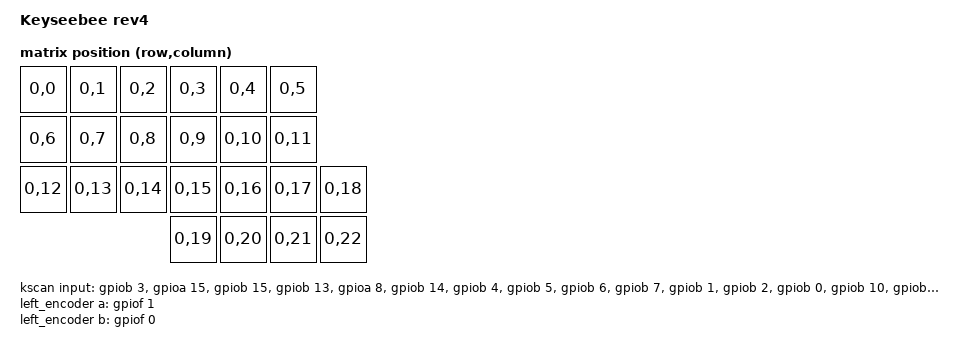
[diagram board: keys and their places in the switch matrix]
/*
 * Copyright (c) 2020 The ZMK Contributors
 *
 * SPDX-License-Identifier: MIT
 */

/dts-v1/;
#include <st/f0/stm32f072Xb.dtsi>
#include <st/f0/stm32f072c(8-b)tx-pinctrl.dtsi>
//#include <dt-bindings/led/led.h>

#include <dt-bindings/zmk/matrix_transform.h>

#include <physical_layouts.dtsi>

/ {
    model = "Keyseebee rev4";
    compatible = "sefodopo,keyseebee", "st,stm32f072";

    chosen {
        zephyr,sram = &sram0;
        zephyr,flash = &flash0;
        zmk,kscan = &kscan;
        //zmk,underglow = &led_strip;
    };

    matrix_transform: matrix_transform {
        compatible = "zmk,matrix-transform";

        compatible = "zmk,matrix-transform";
        columns = <7>;
        rows = <4>;
        map = <
            RC(0,0)  RC(0,1)  RC(0,2)  RC(0,3)  RC(0,4)  RC(0,5)
            RC(0,6)  RC(0,7)  RC(0,8)  RC(0,9)  RC(0,10) RC(0,11)
            RC(0,12) RC(0,13) RC(0,14) RC(0,15) RC(0,16) RC(0,17) RC(0,18)
                                       RC(0,19) RC(0,20) RC(0,21) RC(0,22)
        >;
    };

    physical_layout {
        compatible = "zmk,physical-layout";

        display-name = "Keyseebee";
        transform = <&matrix_transform>;

        //keys  //                     w   h    x    y     rot    rx    ry
        //    = <&key_physical_attrs 100 100    0    0       0     0     0>
        //    , <&key_physical_attrs 100 100  100    0       0     0     0>
        //    , <&key_physical_attrs 100 100  200    0       0     0     0>
        //    , <&key_physical_attrs 100 100    0  100       0     0     0>
        //    , <&key_physical_attrs 100 100  100  100       0     0     0>
        //    , <&key_physical_attrs 100 100  200  100       0     0     0>
        //    , <&key_physical_attrs 100 100    0  200       0     0     0>
        //    , <&key_physical_attrs 100 100  100  200       0     0     0>
        //    , <&key_physical_attrs 100 100  200  200       0     0     0>
        //    ;
    };

    kscan: kscan {
        compatible = "zmk,kscan-gpio-direct";

        input-gpios
            = <&gpiob 3 (GPIO_ACTIVE_LOW | GPIO_PULL_UP)>
            , <&gpioa 15  (GPIO_ACTIVE_LOW | GPIO_PULL_UP)>
            , <&gpiob 15  (GPIO_ACTIVE_LOW | GPIO_PULL_UP)>
            , <&gpiob 13 (GPIO_ACTIVE_LOW | GPIO_PULL_UP)>
            , <&gpioa 8  (GPIO_ACTIVE_LOW | GPIO_PULL_UP)>
            , <&gpiob 14  (GPIO_ACTIVE_LOW | GPIO_PULL_UP)>
            , <&gpiob 4  (GPIO_ACTIVE_LOW | GPIO_PULL_UP)>
            , <&gpiob 5  (GPIO_ACTIVE_LOW | GPIO_PULL_UP)>
            , <&gpiob 6  (GPIO_ACTIVE_LOW | GPIO_PULL_UP)>
            , <&gpiob 7  (GPIO_ACTIVE_LOW | GPIO_PULL_UP)>
            , <&gpiob 1  (GPIO_ACTIVE_LOW | GPIO_PULL_UP)>
            , <&gpiob 2  (GPIO_ACTIVE_LOW | GPIO_PULL_UP)>
            , <&gpiob 0  (GPIO_ACTIVE_LOW | GPIO_PULL_UP)>
            , <&gpiob 10  (GPIO_ACTIVE_LOW | GPIO_PULL_UP)>
            , <&gpiob 11  (GPIO_ACTIVE_LOW | GPIO_PULL_UP)>
            , <&gpioa 7  (GPIO_ACTIVE_LOW | GPIO_PULL_UP)>
            , <&gpioa 6  (GPIO_ACTIVE_LOW | GPIO_PULL_UP)>
            , <&gpioa 1  (GPIO_ACTIVE_LOW | GPIO_PULL_UP)>
            , <&gpioa 5  (GPIO_ACTIVE_LOW | GPIO_PULL_UP)>
            , <&gpioa 0  (GPIO_ACTIVE_LOW | GPIO_PULL_UP)>
            , <&gpioa 2  (GPIO_ACTIVE_LOW | GPIO_PULL_UP)>
            , <&gpioa 3  (GPIO_ACTIVE_LOW | GPIO_PULL_UP)>
            , <&gpioa 4  (GPIO_ACTIVE_LOW | GPIO_PULL_UP)>
            ;
    };

    left_encoder: encoder_left {
        compatible = "alps,ec11";
        a-gpios = <&gpiof 1 (GPIO_ACTIVE_HIGH | GPIO_PULL_UP)>;
        b-gpios = <&gpiof 0 (GPIO_ACTIVE_HIGH | GPIO_PULL_UP)>;
        steps = <80>;
        status = "okay";
    };
//    mid_encoder: encoder_mid {
//        compatible = "alps,ec11";
//        a-gpios = <&gpioa 9 (GPIO_ACTIVE_HIGH | GPIO_PULL_UP)>;
//        b-gpios = <&gpioa 10 (GPIO_ACTIVE_HIGH | GPIO_PULL_UP)>;
//        steps = <80>;
//        status = "disabled";
//    };
//    right_encoder: encoder_right {
//        compatible = "alps,ec11";
//        a-gpios = <&gpioa 15 (GPIO_ACTIVE_HIGH | GPIO_PULL_UP)>;
//        b-gpios = <&gpiob 3 (GPIO_ACTIVE_HIGH | GPIO_PULL_UP)>;
//        steps = <80>;
//        status = "disabled";
//    };
//
    sensors: sensors {
        compatible = "zmk,keymap-sensors";
        status = "okay";
        sensors = <&left_encoder>;
        triggers-per-rotation = <20>;
    };
};

&clk_hsi {
    status = "okay";
};

&pll {
    status = "okay";
    prediv = <1>;
    mul = <6>;
    clocks = <&clk_hsi>;
};

&rcc {
    clocks = <&pll>;
    clock-frequency = <DT_FREQ_M(48)>;
    ahb-prescaler = <1>;
    apb1-prescaler = <1>;
};

zephyr_udc0: &usb {
    status = "okay";
    pinctrl-0 = <&usb_dm_pa11 &usb_dp_pa12>;
    pinctrl-names = "default";

    // Overridden to lower RAM usage.
    num-bidir-endpoints = <4>;
};

&rtc {
    status = "okay";
};

&flash0 {
    /*
     * For more information, see:
     * http://docs.zephyrproject.org/latest/guides/dts/index.html#flash-partitions
     */
    partitions {
        compatible = "fixed-partitions";
        #address-cells = <1>;
        #size-cells = <1>;

        /* Set 6Kb of storage at the end of the 128Kb of flash */
        storage_partition: partition@1e800 {
            reg = <0x0001e800 0x00001800>;
        };
    };
};
